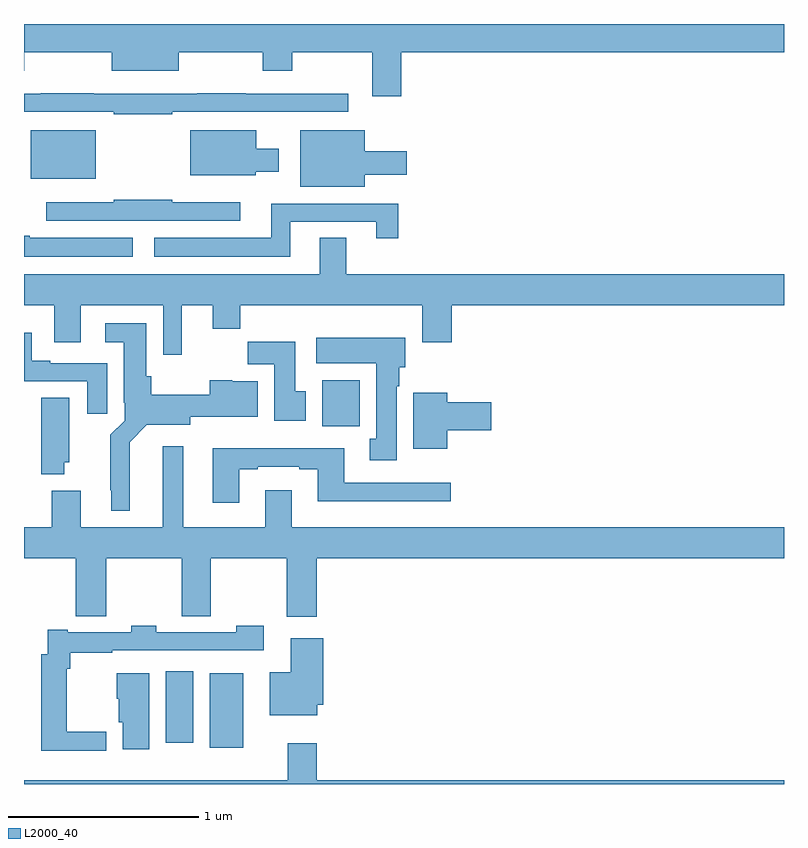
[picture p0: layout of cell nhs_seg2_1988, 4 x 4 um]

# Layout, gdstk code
import gdstk
lib = gdstk.Library(unit=1e-6, precision=1e-09)
def R(c, l, rs):  # rectangles x0, y0, x1, y1
    for r in rs: c.add(gdstk.rectangle(r[:2], r[2:], *l))
def P(c, l, *ps):  # polygons
    for p in ps: c.add(gdstk.Polygon(p, *l))
L2000_40 = (2000, 40)

nhs_seg2_1988 = lib.new_cell('nhs_seg2_1988')
R(nhs_seg2_1988, L2000_40, [(215.978,627.992,216.154,628.384), (215.747,628.017,215.89,628.393), (216.569,629.684,216.766,629.926), (215.036,630.986,215.377,631.24)])
P(nhs_seg2_1988, L2000_40, [(216.986,631.652),(219,631.652),(219,631.8),(215,631.8),(215,631.553),(215.001,631.553),(215.001,631.652),(215.462,631.652),(215.462,631.553),(215.815,631.553),(215.815,631.652),(216.256,631.652),(216.256,631.553),(216.411,631.553),(216.411,631.652),(216.833,631.652),(216.833,631.419),(216.986,631.419)],
  [(215.78,631.338),(216.706,631.338),(216.706,631.434),(216.167,631.434),(216.167,631.436),(215.911,631.436),(215.911,631.434),(215.366,631.434),(215.366,631.436),(215.089,631.436),(215.089,631.434),(215,631.434),(215,631.338),(215.473,631.338),(215.473,631.326),(215.78,631.326)],
  [(216.793,631.007),(217.015,631.007),(217.015,631.129),(216.793,631.129),(216.793,631.24),(216.455,631.24),(216.455,630.944),(216.793,630.944)],
  [(216.219,631.022),(216.34,631.022),(216.34,631.144),(216.223,631.144),(216.223,631.24),(215.876,631.24),(215.876,631.004),(216.219,631.004)],
  [(216.139,630.862),(215.78,630.862),(215.78,630.874),(215.473,630.874),(215.473,630.861),(215.118,630.861),(215.118,630.765),(216.139,630.765)],
  [(216.4,630.759),(216.854,630.759),(216.854,630.672),(216.971,630.672),(216.971,630.855),(216.302,630.855),(216.302,630.676),(215.685,630.676),(215.685,630.575),(216.4,630.575)],
  [(215.572,630.676),(215.03,630.676),(215.03,630.686),(215,630.686),(215,630.575),(215.572,630.575)],
  [(215.83,630.32),(215.993,630.32),(215.993,630.196),(216.137,630.196),(216.137,630.32),(217.097,630.32),(217.097,630.126),(217.25,630.126),(217.25,630.32),(219,630.32),(219,630.484),(216.697,630.484),(216.697,630.674),(216.557,630.674),(216.557,630.484),(215,630.484),(215,630.32),(215.159,630.32),(215.159,630.126),(215.299,630.126),(215.299,630.32),(215.733,630.32),(215.733,630.06),(215.83,630.06)],
  [(215.557,629.6),(215.646,629.69),(215.875,629.69),(215.875,629.732),(216.229,629.732),(216.229,629.92),(216.096,629.92),(216.096,629.926),(215.978,629.926),(215.978,629.848),(215.67,629.848),(215.67,629.946),(215.644,629.946),(215.644,630.226),(215.427,630.226),(215.427,630.125),(215.525,630.125),(215.525,629.806),(215.529,629.806),(215.529,629.712),(215.455,629.638),(215.455,629.347),(215.459,629.347),(215.459,629.237),(215.557,629.237)],
  [(215.437,630.015),(215.137,630.015),(215.137,630.028),(215.041,630.028),(215.041,630.175),(215,630.175),(215,629.919),(215.333,629.919),(215.333,629.748),(215.437,629.748)],
  [(216.961,629.894),(216.976,629.894),(216.976,629.994),(217.006,629.994),(217.006,630.148),(216.537,630.148),(216.537,630.014),(216.854,630.014),(216.854,629.618),(216.821,629.618),(216.821,629.505),(216.961,629.505)],
  [(216.484,629.868),(216.427,629.868),(216.427,630.127),(216.178,630.127),(216.178,630.008),(216.317,630.008),(216.317,629.712),(216.484,629.712)],
  [(217.228,629.663),(217.459,629.663),(217.459,629.81),(217.228,629.81),(217.228,629.86),(217.049,629.86),(217.049,629.564),(217.228,629.564)],
  [(215.212,629.493),(215.239,629.493),(215.239,629.834),(215.09,629.834),(215.09,629.429),(215.212,629.429)],
  [(216.542,628.988),(219,628.988),(219,629.152),(216.409,629.152),(216.409,629.347),(216.269,629.347),(216.269,629.152),(215.839,629.152),(215.839,629.578),(215.729,629.578),(215.729,629.152),(215.299,629.152),(215.299,629.344),(215.147,629.344),(215.147,629.152),(215,629.152),(215,628.988),(215.273,628.988),(215.273,628.684),(215.432,628.684),(215.432,628.988),(215.83,628.988),(215.83,628.684),(215.984,628.684),(215.984,628.988),(216.382,628.988),(216.382,628.68),(216.542,628.68)],
  [(216.133,629.457),(216.229,629.457),(216.229,629.469),(216.449,629.469),(216.449,629.457),(216.545,629.457),(216.545,629.288),(217.246,629.288),(217.246,629.385),(216.685,629.385),(216.685,629.566),(215.993,629.566),(215.993,629.28),(216.133,629.28)],
  [(215.434,628.076),(215.224,628.076),(215.224,628.406),(215.243,628.406),(215.243,628.491),(215.465,628.491),(215.465,628.503),(216.262,628.503),(216.262,628.632),(216.117,628.632),(216.117,628.599),(215.697,628.599),(215.697,628.632),(215.565,628.632),(215.565,628.599),(215.23,628.599),(215.23,628.612),(215.126,628.612),(215.126,628.483),(215.09,628.483),(215.09,627.974),(215.434,627.974)],
  [(216.544,628.218),(216.575,628.218),(216.575,628.567),(216.404,628.567),(216.404,628.387),(216.293,628.387),(216.293,628.163),(216.544,628.163)],
  [(215.659,628.384),(215.489,628.384),(215.489,628.248),(215.498,628.248),(215.498,628.125),(215.519,628.125),(215.519,627.984),(215.659,627.984)],
  [(219,627.82),(216.542,627.82),(216.542,628.015),(216.389,628.015),(216.389,627.82),(215,627.82),(215,627.8),(219,627.8)])

lib.write_gds('nhs_seg2_1988.gds')
